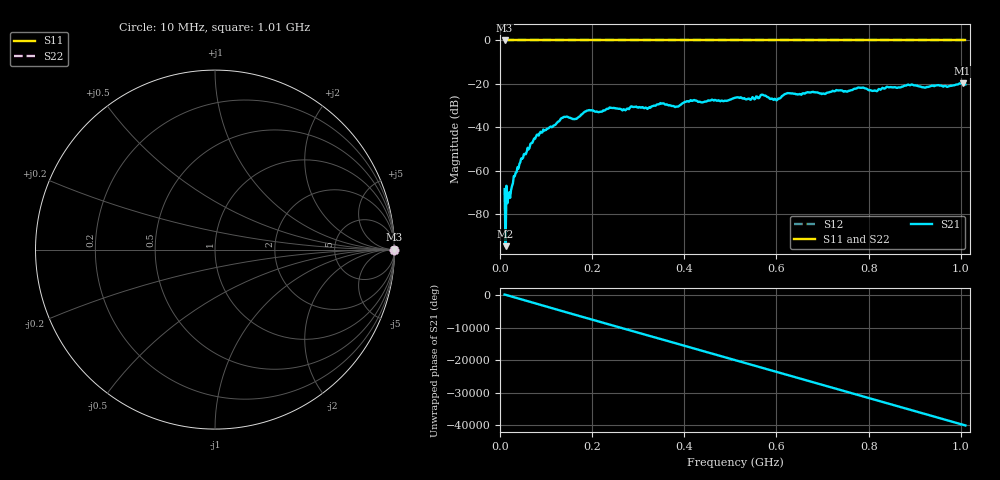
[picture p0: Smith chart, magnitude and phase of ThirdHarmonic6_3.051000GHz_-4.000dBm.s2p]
! 8/17/2025 8:51:44 AM
! C:\ANRITSUVNA\TEMP\TEMP.S2P
! CHANNEL.1
! TR.MEASUREMENT
! RAW.DATA
! RF.CORRECTION.OFF
! AVERAGING.OFF
! IF.BANDWIDTH: 5KHZ
! SWEEPTYPE:  FREQ.SWEEP(Linear)
! Reference Plane Port Info
! PORT:  PORT1  PORT2
! DISTANCE:  0  m  0  m
! TIME:  0  s  0  s
! PHASE.OFFSET:  0  deg.  0  deg.
! LOSS:  0  dB  0  dB
! REF.LOSS:  0  dB  0  dB
! REF.FREQ:  0  Hz  0  Hz
! Power Info
! POWER:  -20  dBm  -20  dBm
! EFF.POWER:  -20  dBm  -20  dBm
! SOURCE.ATTEN:  0  dB  0  dB
! TEST.ATTEN:  0  dB  0  dB
# GHZ S RI R 50.0
! FREQ.GHZ  S11RE  S11IM  S21RE  S21IM  S12RE  S12IM  S22RE  S22IM
!; PortSelection: Port_12
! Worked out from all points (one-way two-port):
!   501 points, 10 MHz to 1.01 GHz, reference 50 ohm
!   highest |S21| = -19.70 dB at 1.004 GHz (marker M1); lowest = -94.7 dB at 12 MHz (marker M2)
!   lowest |S11| = 0.0 dB at 10 MHz (marker M3)
!   |S11| at or under -10 dB: nowhere
!   |S22| runs from 0.0 to 0.0 dB; largest |S21 - S12| = 1.1
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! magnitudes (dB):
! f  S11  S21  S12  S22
! 10 MHz  0.0  -68.4  0.0  0.0
! 12 MHz  0.0  -94.7  0.0  0.0
! 20 MHz  0.0  -69.9  0.0  0.0
! 34 MHz  0.0  -60.9  0.0  0.0
! 42 MHz  0.0  -57.0  0.0  0.0
! 78 MHz  0.0  -44.4  0.0  0.0
! 136 MHz  0.0  -35.6  0.0  0.0
! 162 MHz  0.0  -36.2  0.0  0.0
! 178 MHz  0.0  -34.0  0.0  0.0
! 194 MHz  0.0  -32.0  0.0  0.0
! 322 MHz  0.0  -31.1  0.0  0.0
! 344 MHz  0.0  -29.4  0.0  0.0
! 384 MHz  0.0  -30.4  0.0  0.0
! 418 MHz  0.0  -27.8  0.0  0.0
! 510 MHz  0.0  -26.4  0.0  0.0
! 570 MHz  0.0  -25.0  0.0  0.0
! 598 MHz  0.0  -27.0  0.0  0.0
! 624 MHz  0.0  -24.2  0.0  0.0
! 678 MHz  0.0  -23.7  0.0  0.0
! 844 MHz  0.0  -21.6  0.0  0.0
! 1.004 GHz  0.0  -19.7  0.0  0.0
! 1.01 GHz  0.0  -20.2  0.0  0.0
